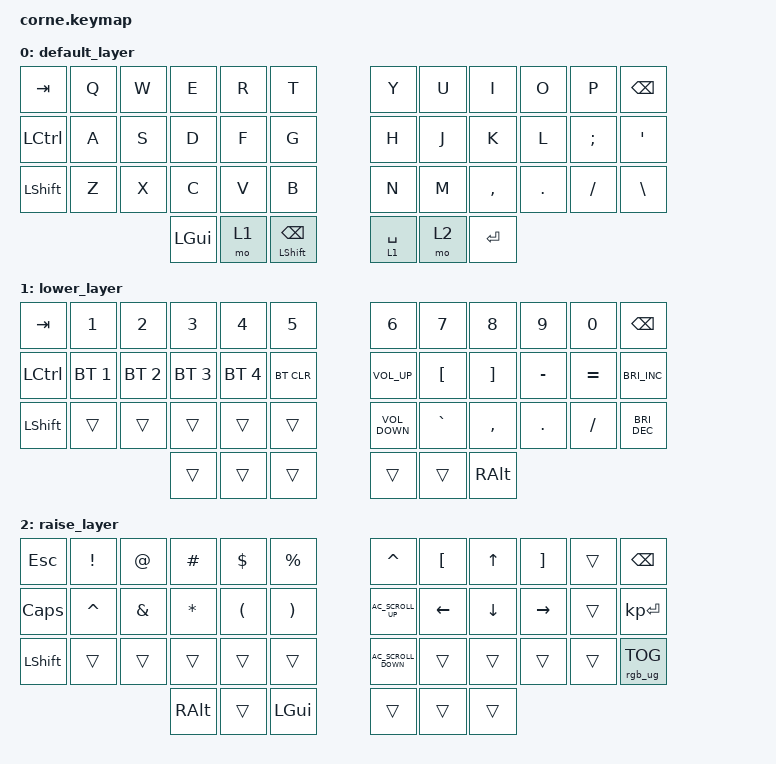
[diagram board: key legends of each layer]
/*
 * Copyright (c) 2020 The ZMK Contributors
 *
 * SPDX-License-Identifier: MIT
 */

#include <behaviors.dtsi>
#include <dt-bindings/zmk/bt.h>
#include <dt-bindings/zmk/keys.h>
#include <dt-bindings/zmk/rgb.h>

/ {
    combos {
        compatible = "zmk,combos";
    };

    macros {
    };

    keymap {
        compatible = "zmk,keymap";

        default_layer {
            //  ------ ----- ----- ----- ----- -----     ----- ------ ----- ----- ----- ------
            // |  TAB |  Q  |  W  |  E  |  R  |  T  |   |  Y  |  U   |  I  |  O  |  P  | BKSP |
            //  ------ ----- ----- ----- ----- -----     ----- ------ ----- ----- ----- ------
            // | CTRL |  A  |  S  |  D  |  F  |  G  |   |  H  |  J   |  K  |  L  |  ;  |  '   |
            //  ------ ----- ----- ----- ----- -----     ----- ------ ----- ----- ----- ------
            // | SHFT |  Z  |  X  |  C  |  V  |  B  |   |  N  |  M   |  ,  |  .  |  /  | ESC  |
            //  ------ ----- ----- ----- ----- -----     ----- ------ ----- ----- ----- ------
            //                    | GUI | LWR | SPC |   | ENT | RSE  | ALT |
            //                     ----- ----- -----     ----- ------ ----- 

            bindings = <
  &kp TAB  &kp Q  &kp W     &kp E  &kp R                     &kp T        &kp Y  &kp U      &kp I    &kp O     &kp P       &kp BSPC
&kp LCTRL  &kp A  &kp S     &kp D  &kp F                     &kp G        &kp H  &kp J      &kp K    &kp L  &kp SEMI        &kp SQT
&kp LSHFT  &kp Z  &kp X     &kp C  &kp V                     &kp B        &kp N  &kp M  &kp COMMA  &kp DOT  &kp FSLH  &kp BACKSLASH
                         &kp LGUI  &mo 1  &mt LEFT_SHIFT BACKSPACE  &lt 1 SPACE  &mo 2  &kp ENTER
            >;
        };

        lower_layer {
            //  ------ ----- ----- ----- ----- -----     ----- ----- ----- ----- ----- ------
            // |  TAB |  1  |  2  |  3  |  4  |  5  |   |  6  |  7  |  8  |  9  |  0  | BKSP |
            //  ------ ----- ----- ----- ----- -----     ----- ----- ----- ----- ----- ------
            // | BTCLR| BT1 | BT2 | BT3 | BT4 | BT5 |   | LFT | DWN |  UP | RGT |     |      |
            //  ------ ----- ----- ----- ----- -----     ----- ----- ----- ----- ----- ------
            // | SHFT |     |     |     |     |     |   |     |     |     |     |     |      |
            //  ------ ----- ----- ----- ----- -----     ----- ----- ----- ----- ----- ------
            //                    | GUI |     | SPC |   | ENT |     | ALT |
            //                     ----- ----- -----     ----- ----- ----- 

            bindings = <
  &kp TAB        &kp N1        &kp N2        &kp N3        &kp N4      &kp N5             &kp N6            &kp N7             &kp N8      &kp N9     &kp N0              &kp BSPC
&kp LCTRL  &bt BT_SEL 1  &bt BT_SEL 2  &bt BT_SEL 3  &bt BT_SEL 4  &bt BT_CLR       &kp C_VOL_UP  &kp LEFT_BRACKET  &kp RIGHT_BRACKET   &kp MINUS  &kp EQUAL  &kp C_BRIGHTNESS_INC
&kp LSHFT        &trans        &trans        &trans        &trans      &trans  &kp C_VOLUME_DOWN         &kp GRAVE          &kp COMMA  &kp PERIOD  &kp SLASH  &kp C_BRIGHTNESS_DEC
                                             &trans        &trans      &trans             &trans            &trans           &kp RALT
            >;
        };

        raise_layer {
            //  ------ ----- ----- ----- ----- -----     ----- ----- ----- ----- ----- ------
            // |  TAB |  !  |  @  |  #  |  $  |  %  |   |  ^  |  &  |  *  |  (  |  )  | BKSP |
            //  ------ ----- ----- ----- ----- -----     ----- ----- ----- ----- ----- ------
            // | CTRL |     |     |     |     |     |   |  -  |  =  |  [  |  ]  |  \  |  `   |
            //  ------ ----- ----- ----- ----- -----     ----- ----- ----- ----- ----- ------
            // | SHFT |     |     |     |     |     |   |  _  |  +  |  {  |  }  | "|" |  ~   |
            //  ------ ----- ----- ----- ----- -----     ----- ----- ----- ----- ----- ------
            //                    | GUI |     | SPC |   | ENT |     | ALT |
            //                     ----- ----- -----     ----- ----- ----- 

            bindings = <
  &kp ESC   &kp EXCL    &kp AT       &kp HASH              &kp DLLR              &kp PRCNT             &kp CARET  &kp LEFT_BRACKET    &kp UP  &kp RIGHT_BRACKET  &trans         &kp BSPC
 &kp CAPS  &kp CARET  &kp AMPS   &kp ASTERISK  &kp LEFT_PARENTHESIS  &kp RIGHT_PARENTHESIS    &kp C_AC_SCROLL_UP          &kp LEFT  &kp DOWN          &kp RIGHT  &trans     &kp KP_ENTER
&kp LSHFT     &trans    &trans         &trans                &trans                 &trans  &kp C_AC_SCROLL_DOWN            &trans    &trans             &trans  &trans  &rgb_ug RGB_TOG
                                &kp RIGHT_ALT                &trans               &kp LGUI                &trans            &trans    &trans
            >;
        };
    };
};
